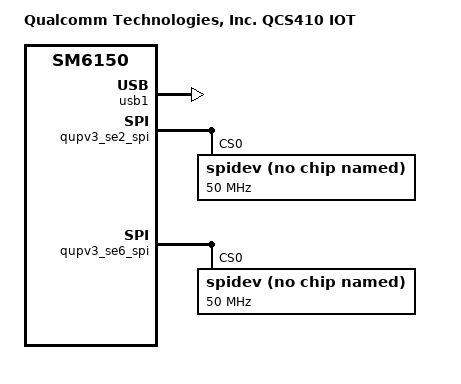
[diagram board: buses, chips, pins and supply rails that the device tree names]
/* Copyright (c) 2019-2020, The Linux Foundation. All rights reserved.
 *
 * This program is free software; you can redistribute it and/or modify
 * it under the terms of the GNU General Public License version 2 and
 * only version 2 as published by the Free Software Foundation.
 *
 * This program is distributed in the hope that it will be useful,
 * but WITHOUT ANY WARRANTY; without even the implied warranty of
 * MERCHANTABILITY or FITNESS FOR A PARTICULAR PURPOSE.  See the
 * GNU General Public License for more details.
 */

#include "qcs610-iot.dtsi"

/ {
	model = "Qualcomm Technologies, Inc. QCS410 IOT";
	compatible = "qcom,qcs410-iot", "qcom,qcs410", "qcom,iot";
};

&usb1 {
	status = "okay";
	pinctrl-names = "default";
	pinctrl-0 = <&usb_typea_host_en>;
	qcom,default-mode-host;
	qcom,ignore-wakeup-src-in-hostmode;
};

&L19A {
       regulator-max-microvolt = <3304000>;
       qcom,init-voltage = <3300000>;
       regulator-always-on;
       qcom,init-mode = <RPMH_REGULATOR_MODE_HPM>;
};

&aliases {
	spi2 = &qupv3_se2_spi;
	spi6 = &qupv3_se6_spi;
};

&qupv3_se2_spi {
	status = "ok";
	spidev@1 {
		status = "ok";
		compatible = "qcom,spidev";
		reg = <0>;
		spi-max-frequency = <50000000>;
	};
};

&qupv3_se6_spi {
	status = "ok";
	spidev@2 {
		status = "ok";
		compatible = "qcom,spidev";
		reg = <0>;
		spi-max-frequency = <50000000>;
	};
};

&pm6150_charger {
	status = "disabled";
};

&pm6150_qg {
	status = "disabled";
};

&pm6150_bcl {
	status = "disabled";
};

&wdog {
	status = "disabled";
};

&qupv3_se1_i2c {
	/delete-property/ qcom,i2c-touch-active;
	focaltech@38 {
		status = "disabled";
	};
	lt,lt9611@3b {
		status = "disabled";
	};
};

&emac_gdsc {
	status = "disabled";
};

#include "qcs410-iot-pinctrl.dtsi"
#include "display/denso-sde.dtsi"
#include "camera/denso-camera.dtsi"
#include "sm6150-ext-codec-audio-overlay.dtsi"
